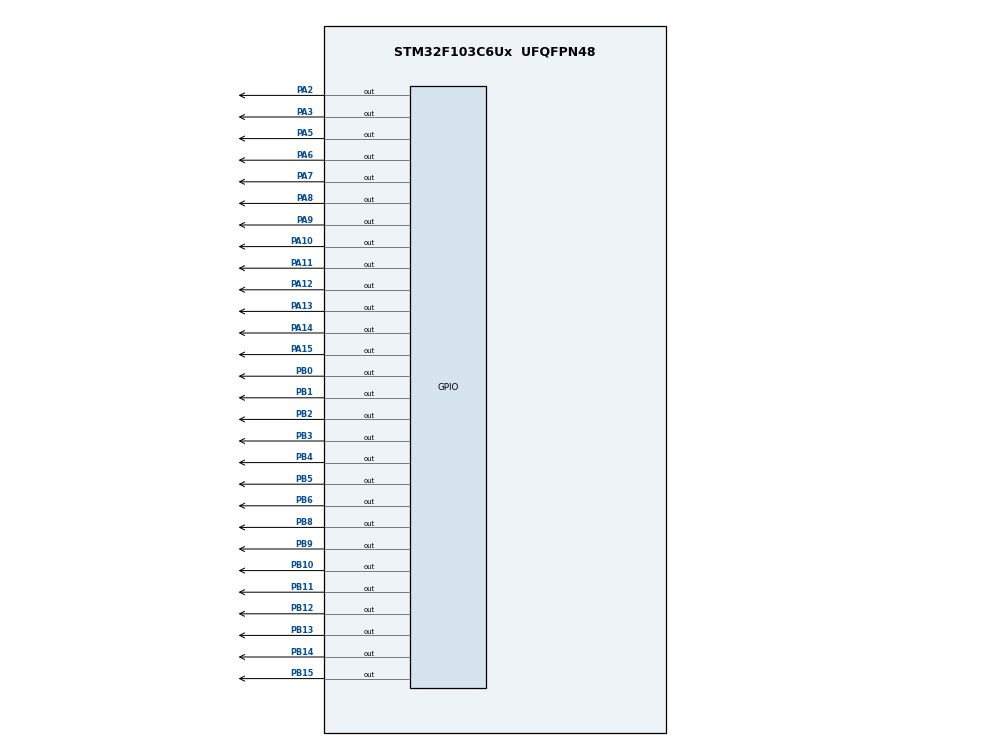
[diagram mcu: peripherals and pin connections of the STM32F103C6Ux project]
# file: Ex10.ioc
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Mcu.Family=STM32F1
Mcu.Name=STM32F103C6Ux
Mcu.Package=UFQFPN48
NVIC.PriorityGroup=NVIC_PRIORITYGROUP_4
NVIC.TIM2_IRQn=true\:0\:0\:false\:false\:true\:true\:true\:true
PA10.Signal=GPIO_Output
PA11.Signal=GPIO_Output
PA12.Signal=GPIO_Output
PA13.Signal=GPIO_Output
PA14.Signal=GPIO_Output
PA15.Signal=GPIO_Output
PA2.Signal=GPIO_Output
PA3.Signal=GPIO_Output
PA5.Signal=GPIO_Output
PA6.PinState=GPIO_PIN_SET
PA6.Signal=GPIO_Output
PA7.PinState=GPIO_PIN_SET
PA7.Signal=GPIO_Output
PA8.PinState=GPIO_PIN_SET
PA8.Signal=GPIO_Output
PA9.PinState=GPIO_PIN_SET
PA9.Signal=GPIO_Output
PB0.Signal=GPIO_Output
PB1.Signal=GPIO_Output
PB10.Signal=GPIO_Output
PB11.Signal=GPIO_Output
PB12.Signal=GPIO_Output
PB13.Signal=GPIO_Output
PB14.Signal=GPIO_Output
PB15.Signal=GPIO_Output
PB2.Signal=GPIO_Output
PB3.Signal=GPIO_Output
PB4.Signal=GPIO_Output
PB5.Signal=GPIO_Output
PB6.Signal=GPIO_Output
PB8.Signal=GPIO_Output
PB9.Signal=GPIO_Output
ProjectManager.HeapSize=0x200
ProjectManager.StackSize=0x400
ProjectManager.TargetToolchain=STM32CubeIDE
RCC.APB1Freq_Value=8000000
RCC.APB2Freq_Value=8000000
TIM2.Period=9
TIM2.Prescaler=7999
VP_SYS_VS_ND.Mode=No_Debug
VP_TIM2_VS_ClockSourceINT.Mode=Internal
board=custom

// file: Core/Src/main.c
/* USER CODE BEGIN Header */
/**
 ******************************************************************************
 * @file           : main.c
 * @brief          : Lab 2 - Ex7, Ex8, Ex9 (digital clock + LED matrix)
 ******************************************************************************
 */
/* USER CODE END Header */
#include "main.h"

TIM_HandleTypeDef htim2;

void SystemClock_Config(void);
static void MX_GPIO_Init(void);
static void MX_TIM2_Init(void);

/* USER CODE BEGIN 0 */

/* ================= Dinh thoi quet ================= */
#define SEG_SCAN_TICKS 20U    // 5 x 2 ms = 10 ms
#define CLOCK_TICKS 500U     // 500 x 2 ms = 1 s
#define MATRIX_SCAN_TICKS 1U // Số nhịp ngắt để chuyển cột matrix (ví dụ: 1 hoặc 2 ms)
#define MATRIX_SHIFT_TICKS 100U // 100 x 2 ms = 200 ms một bước dịch chuyển animation

static volatile uint16_t matrix_tick_count = 0;
static volatile uint16_t matrix_shift_count = 0;

static volatile uint8_t matrix_scan_flag = 0;
static volatile uint8_t matrix_shift_flag = 0;
static volatile uint8_t segment_scan_flag = 0;
static volatile uint8_t clock_tick_flag = 0;
static volatile uint16_t segment_tick_count = 0;
static volatile uint16_t clock_tick_count = 0;

/* ================= LED 7 doan ================= */
// Common anode: bit = 0 -> sang. Bit0 = a ... bit6 = g
const uint8_t SEG_CODE[10] = {
    0x40, 0x79, 0x24, 0x30, 0x19, // 0 1 2 3 4
    0x12, 0x02, 0x78, 0x00, 0x10  // 5 6 7 8 9
};

// PA6..PA9 dieu khien PNP high-side: base LOW = bat, base HIGH = tat
#define EN_ON GPIO_PIN_RESET
#define EN_OFF GPIO_PIN_SET

void display7SEG(int num)
{
  GPIOB->ODR = (GPIOB->ODR & ~0x007F) | SEG_CODE[num];
}

const int MAX_LED = 4;
int index_led = 0;
int led_buffer[4] = {1, 2, 3, 4};

void update7SEG(int index)
{
  // Tat ca 4 LED truoc khi doi du lieu de tranh bong mo
  HAL_GPIO_WritePin(GPIOA, GPIO_PIN_6 | GPIO_PIN_7 | GPIO_PIN_8 | GPIO_PIN_9, EN_OFF);
  switch (index)
  {
  case 0:
    display7SEG(led_buffer[0]);
    HAL_GPIO_WritePin(GPIOA, GPIO_PIN_6, EN_ON);
    break;
  case 1:
    display7SEG(led_buffer[1]);
    HAL_GPIO_WritePin(GPIOA, GPIO_PIN_7, EN_ON);
    break;
  case 2:
    display7SEG(led_buffer[2]);
    HAL_GPIO_WritePin(GPIOA, GPIO_PIN_8, EN_ON);
    break;
  case 3:
    display7SEG(led_buffer[3]);
    HAL_GPIO_WritePin(GPIOA, GPIO_PIN_9, EN_ON);
    break;
  default:
    break;
  }
}

/* ================= Dong ho ================= */
// Bat dau tai 15:08:00. Neu bat dau o giay 50 thi chi sau 10 giay
// man hinh se doi tu 15:08 sang 15:09.
int hour = 15, minute = 8, second = 0;

void updateClockBuffer(void)
{
  led_buffer[0] = hour / 10;
  led_buffer[1] = hour % 10;
  led_buffer[2] = minute / 10;
  led_buffer[3] = minute % 10;
}

/* ================= LED matrix ================= */
// Giu nguyen ket noi tren mach Proteus hien tai:
// PB8..PB15 -> ROW0..ROW7; ULN2803 -> COL0..COL7.
// PA2, PA3, PA10..PA15 chon tung COL thong qua ULN2803.
#define COL_ON GPIO_PIN_SET
#define COL_OFF GPIO_PIN_RESET

#define ENM_PORT GPIOA
#define ENM_ALL (GPIO_PIN_2 | GPIO_PIN_3 | GPIO_PIN_10 | GPIO_PIN_11 | \
                 GPIO_PIN_12 | GPIO_PIN_13 | GPIO_PIN_14 | GPIO_PIN_15)

// Chu A chi co 3 mau hang khac nhau, nen gom cac hang giong nhau
// thanh mot pha quet. Duty cycle tang tu 1/8 len 1/3 va khung hinh
// Voi timer 2 ms: mot khung mat 6 ms, tuong duong 166.7 Hz.
const int MAX_LED_MATRIX = 8;
int index_led_matrix = 0;

// PB8..PB15 chon hang; cac bit trong matrix_buffer chon cot qua ULN2803.
// Moi bit bang 1 la mot diem sang tren hang dang duoc quet.
// Mẫu ký tự gốc (chữ 'A')
const uint8_t LETTER_A[8] = {
    0x3C, // ..####..
    0x42, // .#....#.
    0x42, // .#....#.
    0x42, // .#....#.
    0x7E, // .######.
    0x42, // .#....#.
    0x42, // .#....#.
    0x42  // .#....#.
};

// Bộ đệm hiển thị LED Matrix (có thể thay đổi khi dịch chuyển animation)
uint8_t matrix_buffer[8];

// Dịch toàn bộ ma trận sang trái 1 cột
void shiftMatrixLeft(void)
{
  for (int i = 0; i < 8; i++)
  {
    // Cột 0 (COL0 - bit 0) ở ngoài cùng bên trái, Cột 7 (COL7 - bit 7) ở ngoài cùng bên phải.
    // Dịch trái 1 bit; bit 7 ra ngoài sẽ vòng lại bit 0 để lặp tuần hoàn.
    uint8_t out_bit = (matrix_buffer[i] >> 7) & 0x01U;
    matrix_buffer[i] = (uint8_t)((matrix_buffer[i] << 1) | out_bit);
  }
}

// Xuat du lieu ROW ma khong anh huong PB0..PB6 cua LED 7 doan.
static void setRowData(uint8_t data)
{
  // Ghi truc tiep 8 bit cao, giu nguyen PB0..PB7 cua LED 7 doan.
  GPIOB->ODR = (GPIOB->ODR & 0x00FFU) | ((uint16_t)data << 8);
}

static void displayMatrixRow(uint16_t rowPin, uint8_t data)
{
  static const uint16_t columnPins[8] = {
      GPIO_PIN_2, GPIO_PIN_3, GPIO_PIN_10, GPIO_PIN_11,
      GPIO_PIN_12, GPIO_PIN_13, GPIO_PIN_14, GPIO_PIN_15};
  uint16_t columnMask = 0;

  // Tat hang va cot truoc khi doi du lieu de tranh bong mo.
  HAL_GPIO_WritePin(ENM_PORT, ENM_ALL, COL_OFF);
  GPIOB->ODR &= (uint16_t)~0xFF00U;

  for (int column = 0; column < 8; column++)
  {
    if (data & (1U << column))
    {
      columnMask |= columnPins[column];
    }
  }

  // ULN2803 keo cot xuong khi dau vao o muc HIGH.
  HAL_GPIO_WritePin(ENM_PORT, columnMask, COL_ON);
  setRowData((uint8_t)(rowPin >> 8));
}

void updateLEDMatrix(int index)
{
  if (index >= 0 && index < 8)
  {
    displayMatrixRow((uint16_t)(GPIO_PIN_8 << index), matrix_buffer[index]);
  }
}

// Cau hinh them cac chan cua LED matrix (khong can chinh trong CubeMX)
static void MX_Matrix_GPIO_Init(void)
{
  GPIO_InitTypeDef GPIO_InitStruct = {0};

  HAL_GPIO_WritePin(GPIOA, ENM_ALL, COL_OFF);
  HAL_GPIO_WritePin(GPIOB, 0xFF00, GPIO_PIN_RESET);

  GPIO_InitStruct.Pin = ENM_ALL;
  GPIO_InitStruct.Mode = GPIO_MODE_OUTPUT_PP;
  GPIO_InitStruct.Pull = GPIO_NOPULL;
  GPIO_InitStruct.Speed = GPIO_SPEED_FREQ_LOW;
  HAL_GPIO_Init(GPIOA, &GPIO_InitStruct);

  GPIO_InitStruct.Pin = GPIO_PIN_8 | GPIO_PIN_9 | GPIO_PIN_10 | GPIO_PIN_11 |
                        GPIO_PIN_12 | GPIO_PIN_13 | GPIO_PIN_14 | GPIO_PIN_15;
  HAL_GPIO_Init(GPIOB, &GPIO_InitStruct);
}

static void clockTickOneSecond(void)
{
  HAL_GPIO_TogglePin(GPIOA, GPIO_PIN_4);

  second++;
  if (second >= 60)
  {
    second = 0;
    minute++;
  }
  if (minute >= 60)
  {
    minute = 0;
    hour++;
  }
  if (hour >= 24)
  {
    hour = 0;
  }
  updateClockBuffer();
}

/* USER CODE END 0 */

int main(void)
{

  /* MCU Configuration--------------------------------------------------------*/

  /* Reset of all peripherals, Initializes the Flash interface and the Systick. */
  HAL_Init();

  /* Configure the system clock */
  SystemClock_Config();

  /* Initialize all configured peripherals */
  MX_GPIO_Init();
  MX_TIM2_Init();
  /* USER CODE BEGIN 2 */
  MX_Matrix_GPIO_Init();
  HAL_GPIO_WritePin(GPIOA, GPIO_PIN_6 | GPIO_PIN_7 | GPIO_PIN_8 | GPIO_PIN_9, EN_OFF);
  updateClockBuffer();
  for (int i = 0; i < 8; i++)
  {
    matrix_buffer[i] = LETTER_A[i];
  }
  update7SEG(index_led++);
  updateLEDMatrix(index_led_matrix++);
  HAL_TIM_Base_Start_IT(&htim2);
  //  HAL_GPIO_WritePin(ENM_PORT, ENM_ALL, COL_OFF);       // tắt hết cột
  //  HAL_GPIO_WritePin(ENM_PORT, GPIO_PIN_2, COL_ON);     // chỉ bật COL0 (PA2)
  //  GPIOB->ODR |= 0xFF00;       // nếu bạn đang đảo ROW (dùng ~data) thì đổi thành: GPIOB->ODR &= ~0xFF00;
  //  while (1);
  // TEST CỰC TÍNH - xóa sau khi test xong
  //  while (1) {
  //      for (int p = 0; p < 4; p++) {
  //          HAL_GPIO_WritePin(ENM_PORT, ENM_ALL, (p < 2) ? GPIO_PIN_SET : GPIO_PIN_RESET);
  //          if (p % 2 == 0) GPIOB->ODR |= 0xFF00;
  //          else            GPIOB->ODR &= ~0xFF00;
  //          HAL_Delay(3000);
  //      }
  //  }
  /* USER CODE END 2 */

  /* Infinite loop */
  while (1)
  {

    /* USER CODE BEGIN 3 */

    if (matrix_scan_flag)
    {
      matrix_scan_flag = 0;
      updateLEDMatrix(index_led_matrix++);
      if (index_led_matrix >= MAX_LED_MATRIX)
        index_led_matrix = 0;
    }

    if (matrix_shift_flag)
    {
      matrix_shift_flag = 0;
      shiftMatrixLeft();
    }

    if (segment_scan_flag)
    {
      segment_scan_flag = 0;
      update7SEG(index_led++);
      if (index_led >= MAX_LED)
        index_led = 0;
    }

    if (clock_tick_flag)
    {
      clock_tick_flag = 0;
      clockTickOneSecond();
    }
  }
  /* USER CODE END 3 */
}

void SystemClock_Config(void)
{
  RCC_OscInitTypeDef RCC_OscInitStruct = {0};
  RCC_ClkInitTypeDef RCC_ClkInitStruct = {0};

  /** Initializes the RCC Oscillators according to the specified parameters
   * in the RCC_OscInitTypeDef structure.
   */
  RCC_OscInitStruct.OscillatorType = RCC_OSCILLATORTYPE_HSI;
  RCC_OscInitStruct.HSIState = RCC_HSI_ON;
  RCC_OscInitStruct.HSICalibrationValue = RCC_HSICALIBRATION_DEFAULT;
  RCC_OscInitStruct.PLL.PLLState = RCC_PLL_NONE;
  if (HAL_RCC_OscConfig(&RCC_OscInitStruct) != HAL_OK)
  {
    Error_Handler();
  }

  /** Initializes the CPU, AHB and APB buses clocks
   */
  RCC_ClkInitStruct.ClockType = RCC_CLOCKTYPE_HCLK | RCC_CLOCKTYPE_SYSCLK | RCC_CLOCKTYPE_PCLK1 | RCC_CLOCKTYPE_PCLK2;
  RCC_ClkInitStruct.SYSCLKSource = RCC_SYSCLKSOURCE_HSI;
  RCC_ClkInitStruct.AHBCLKDivider = RCC_SYSCLK_DIV1;
  RCC_ClkInitStruct.APB1CLKDivider = RCC_HCLK_DIV1;
  RCC_ClkInitStruct.APB2CLKDivider = RCC_HCLK_DIV1;

  if (HAL_RCC_ClockConfig(&RCC_ClkInitStruct, FLASH_LATENCY_0) != HAL_OK)
  {
    Error_Handler();
  }
}

static void MX_TIM2_Init(void)
{

  TIM_ClockConfigTypeDef sClockSourceConfig = {0};
  TIM_MasterConfigTypeDef sMasterConfig = {0};

  htim2.Instance = TIM2;
  htim2.Init.Prescaler = 799;
  htim2.Init.CounterMode = TIM_COUNTERMODE_UP;
  htim2.Init.Period = 19; // 10 kHz / 20 = 500 Hz -> 2 ms
  htim2.Init.ClockDivision = TIM_CLOCKDIVISION_DIV1;
  htim2.Init.AutoReloadPreload = TIM_AUTORELOAD_PRELOAD_DISABLE;
  if (HAL_TIM_Base_Init(&htim2) != HAL_OK)
  {
    Error_Handler();
  }
  sClockSourceConfig.ClockSource = TIM_CLOCKSOURCE_INTERNAL;
  if (HAL_TIM_ConfigClockSource(&htim2, &sClockSourceConfig) != HAL_OK)
  {
    Error_Handler();
  }
  sMasterConfig.MasterOutputTrigger = TIM_TRGO_RESET;
  sMasterConfig.MasterSlaveMode = TIM_MASTERSLAVEMODE_DISABLE;
  if (HAL_TIMEx_MasterConfigSynchronization(&htim2, &sMasterConfig) != HAL_OK)
  {
    Error_Handler();
  }
}

static void MX_GPIO_Init(void)
{
  GPIO_InitTypeDef GPIO_InitStruct = {0};

  /* GPIO Ports Clock Enable */
  __HAL_RCC_GPIOA_CLK_ENABLE();
  __HAL_RCC_GPIOB_CLK_ENABLE();
  __HAL_RCC_AFIO_CLK_ENABLE();
  __HAL_AFIO_REMAP_SWJ_NOJTAG();

  /*Configure GPIO pin Output Level */
  HAL_GPIO_WritePin(GPIOA, GPIO_PIN_2 | GPIO_PIN_3 | GPIO_PIN_5 | GPIO_PIN_10 | GPIO_PIN_11 | GPIO_PIN_12 | GPIO_PIN_13 | GPIO_PIN_14 | GPIO_PIN_15, GPIO_PIN_RESET);

  /*Configure GPIO pin Output Level */
  HAL_GPIO_WritePin(GPIOA, GPIO_PIN_6 | GPIO_PIN_7 | GPIO_PIN_8 | GPIO_PIN_9, GPIO_PIN_SET);

  /*Configure GPIO pin Output Level */
  HAL_GPIO_WritePin(GPIOB, GPIO_PIN_0 | GPIO_PIN_1 | GPIO_PIN_2 | GPIO_PIN_10 | GPIO_PIN_11 | GPIO_PIN_12 | GPIO_PIN_13 | GPIO_PIN_14 | GPIO_PIN_15 | GPIO_PIN_3 | GPIO_PIN_4 | GPIO_PIN_5 | GPIO_PIN_6 | GPIO_PIN_8 | GPIO_PIN_9, GPIO_PIN_RESET);

  /*Configure GPIO pins : PA2 PA3 PA5 PA6
                           PA7 PA8 PA9 PA10
                           PA11 PA12 PA13 PA14
                           PA15 */
  GPIO_InitStruct.Pin = GPIO_PIN_2 | GPIO_PIN_3 | GPIO_PIN_5 | GPIO_PIN_6 | GPIO_PIN_7 | GPIO_PIN_8 | GPIO_PIN_9 | GPIO_PIN_10 | GPIO_PIN_11 | GPIO_PIN_12 | GPIO_PIN_13 | GPIO_PIN_14 | GPIO_PIN_15;
  GPIO_InitStruct.Mode = GPIO_MODE_OUTPUT_PP;
  GPIO_InitStruct.Pull = GPIO_NOPULL;
  GPIO_InitStruct.Speed = GPIO_SPEED_FREQ_LOW;
  HAL_GPIO_Init(GPIOA, &GPIO_InitStruct);

  /*Configure GPIO pins : PB0 PB1 PB2 PB10
                           PB11 PB12 PB13 PB14
                           PB15 PB3 PB4 PB5
                           PB6 PB8 PB9 */
  GPIO_InitStruct.Pin = GPIO_PIN_0 | GPIO_PIN_1 | GPIO_PIN_2 | GPIO_PIN_10 | GPIO_PIN_11 | GPIO_PIN_12 | GPIO_PIN_13 | GPIO_PIN_14 | GPIO_PIN_15 | GPIO_PIN_3 | GPIO_PIN_4 | GPIO_PIN_5 | GPIO_PIN_6 | GPIO_PIN_8 | GPIO_PIN_9;
  GPIO_InitStruct.Mode = GPIO_MODE_OUTPUT_PP;
  GPIO_InitStruct.Pull = GPIO_NOPULL;
  GPIO_InitStruct.Speed = GPIO_SPEED_FREQ_LOW;
  HAL_GPIO_Init(GPIOB, &GPIO_InitStruct);

}

/* USER CODE BEGIN 4 */
void HAL_TIM_PeriodElapsedCallback(TIM_HandleTypeDef *htim)
{
  if (htim->Instance == TIM2)
  {
    // Thay vì bật cờ liên tục mỗi ms, ta cho phép quét matrix nhanh hơn tùy ý
    if (++matrix_tick_count >= MATRIX_SCAN_TICKS)
    {
      matrix_tick_count = 0;
      matrix_scan_flag = 1;
    }

    if (++matrix_shift_count >= MATRIX_SHIFT_TICKS)
    {
      matrix_shift_count = 0;
      matrix_shift_flag = 1;
    }

    if (++segment_tick_count >= SEG_SCAN_TICKS)
    {
      segment_tick_count = 0;
      segment_scan_flag = 1;
    }

    if (++clock_tick_count >= CLOCK_TICKS)
    {
      clock_tick_count = 0;
      clock_tick_flag = 1;
    }
  }
}
/* USER CODE END 4 */

void Error_Handler(void)
{
  __disable_irq();
  while (1)
  {
  }
}
